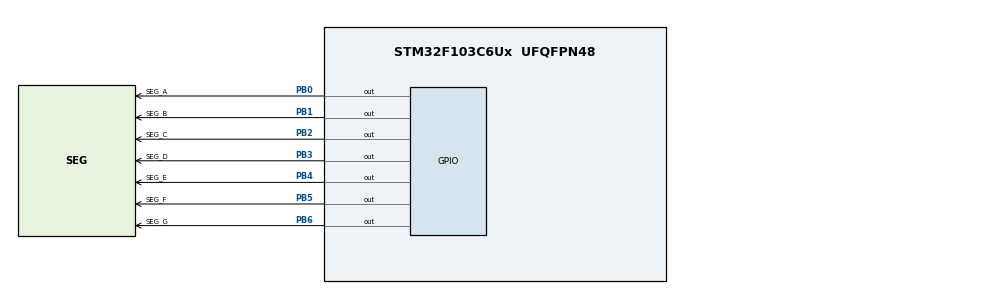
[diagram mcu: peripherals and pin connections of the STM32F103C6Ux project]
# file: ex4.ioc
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Mcu.Family=STM32F1
Mcu.Name=STM32F103C6Ux
Mcu.Package=UFQFPN48
NVIC.PriorityGroup=NVIC_PRIORITYGROUP_4
PB0.GPIO_Label=SEG_A
PB0.Signal=GPIO_Output
PB1.GPIO_Label=SEG_B
PB1.Signal=GPIO_Output
PB2.GPIO_Label=SEG_C
PB2.Signal=GPIO_Output
PB3.GPIO_Label=SEG_D
PB3.Signal=GPIO_Output
PB4.GPIO_Label=SEG_E
PB4.Signal=GPIO_Output
PB5.GPIO_Label=SEG_F
PB5.Signal=GPIO_Output
PB6.GPIO_Label=SEG_G
PB6.Signal=GPIO_Output
ProjectManager.HeapSize=0x200
ProjectManager.StackSize=0x400
ProjectManager.TargetToolchain=STM32CubeIDE
RCC.APB1Freq_Value=8000000
RCC.APB2Freq_Value=8000000
VP_SYS_VS_ND.Mode=No_Debug
board=custom

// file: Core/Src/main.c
/* USER CODE BEGIN Header */
/**
 ******************************************************************************
 * @file           : main.c
 * @brief          : Main program body
 ******************************************************************************
 * @attention
 *
 * <h2><center>&copy; Copyright (c) 2022 STMicroelectronics.
 * All rights reserved.</center></h2>
 *
 * This software component is licensed by ST under BSD 3-Clause license,
 * the "License"; You may not use this file except in compliance with the
 * License. You may obtain a copy of the License at:
 *                        opensource.org/licenses/BSD-3-Clause
 *
 ******************************************************************************
 */
/* USER CODE END Header */
#include "main.h"

void SystemClock_Config(void);
static void MX_GPIO_Init(void);

/* USER CODE BEGIN 0 */
void display7SEG(int num) {
	//num is the time displayed on the 7-segment led
	if (num == 0)
			{
		HAL_GPIO_WritePin(SEG_A_GPIO_Port, SEG_A_Pin, RESET);
		HAL_GPIO_WritePin(SEG_B_GPIO_Port, SEG_B_Pin, RESET);
		HAL_GPIO_WritePin(SEG_C_GPIO_Port, SEG_C_Pin, RESET);
		HAL_GPIO_WritePin(SEG_D_GPIO_Port, SEG_D_Pin, RESET);
		HAL_GPIO_WritePin(SEG_E_GPIO_Port, SEG_E_Pin, RESET);
		HAL_GPIO_WritePin(SEG_F_GPIO_Port, SEG_F_Pin, RESET);
		HAL_GPIO_WritePin(SEG_G_GPIO_Port, SEG_G_Pin, SET);
	}
	if (num == 1) {
		HAL_GPIO_WritePin(SEG_A_GPIO_Port, SEG_A_Pin, SET);
		HAL_GPIO_WritePin(SEG_B_GPIO_Port, SEG_B_Pin, RESET);
		HAL_GPIO_WritePin(SEG_C_GPIO_Port, SEG_C_Pin, RESET);
		HAL_GPIO_WritePin(SEG_D_GPIO_Port, SEG_D_Pin, SET);
		HAL_GPIO_WritePin(SEG_E_GPIO_Port, SEG_E_Pin, SET);
		HAL_GPIO_WritePin(SEG_F_GPIO_Port, SEG_F_Pin, SET);
		HAL_GPIO_WritePin(SEG_G_GPIO_Port, SEG_G_Pin, SET);
	}
	if (num == 2) {
		HAL_GPIO_WritePin(SEG_A_GPIO_Port, SEG_A_Pin, RESET);
		HAL_GPIO_WritePin(SEG_B_GPIO_Port, SEG_B_Pin, RESET);
		HAL_GPIO_WritePin(SEG_C_GPIO_Port, SEG_C_Pin, SET);
		HAL_GPIO_WritePin(SEG_D_GPIO_Port, SEG_D_Pin, RESET);
		HAL_GPIO_WritePin(SEG_E_GPIO_Port, SEG_E_Pin, RESET);
		HAL_GPIO_WritePin(SEG_F_GPIO_Port, SEG_F_Pin, SET);
		HAL_GPIO_WritePin(SEG_G_GPIO_Port, SEG_G_Pin, RESET);
	}
	if (num == 3) {
		HAL_GPIO_WritePin(SEG_A_GPIO_Port, SEG_A_Pin, RESET);
		HAL_GPIO_WritePin(SEG_B_GPIO_Port, SEG_B_Pin, RESET);
		HAL_GPIO_WritePin(SEG_C_GPIO_Port, SEG_C_Pin, RESET);
		HAL_GPIO_WritePin(SEG_D_GPIO_Port, SEG_D_Pin, RESET);
		HAL_GPIO_WritePin(SEG_E_GPIO_Port, SEG_E_Pin, SET);
		HAL_GPIO_WritePin(SEG_F_GPIO_Port, SEG_F_Pin, SET);
		HAL_GPIO_WritePin(SEG_G_GPIO_Port, SEG_G_Pin, RESET);
	}
	if (num == 4) {
		HAL_GPIO_WritePin(SEG_A_GPIO_Port, SEG_A_Pin, SET);
		HAL_GPIO_WritePin(SEG_B_GPIO_Port, SEG_B_Pin, RESET);
		HAL_GPIO_WritePin(SEG_C_GPIO_Port, SEG_C_Pin, RESET);
		HAL_GPIO_WritePin(SEG_D_GPIO_Port, SEG_D_Pin, SET);
		HAL_GPIO_WritePin(SEG_E_GPIO_Port, SEG_E_Pin, SET);
		HAL_GPIO_WritePin(SEG_F_GPIO_Port, SEG_F_Pin, RESET);
		HAL_GPIO_WritePin(SEG_G_GPIO_Port, SEG_G_Pin, RESET);
	}
	if (num == 5) {
		HAL_GPIO_WritePin(SEG_A_GPIO_Port, SEG_A_Pin, RESET);
		HAL_GPIO_WritePin(SEG_B_GPIO_Port, SEG_B_Pin, SET);
		HAL_GPIO_WritePin(SEG_C_GPIO_Port, SEG_C_Pin, RESET);
		HAL_GPIO_WritePin(SEG_D_GPIO_Port, SEG_D_Pin, RESET);
		HAL_GPIO_WritePin(SEG_E_GPIO_Port, SEG_E_Pin, SET);
		HAL_GPIO_WritePin(SEG_F_GPIO_Port, SEG_F_Pin, RESET);
		HAL_GPIO_WritePin(SEG_G_GPIO_Port, SEG_G_Pin, RESET);
	}
	if (num == 6) {
		HAL_GPIO_WritePin(SEG_A_GPIO_Port, SEG_A_Pin, RESET);
		HAL_GPIO_WritePin(SEG_B_GPIO_Port, SEG_B_Pin, SET);
		HAL_GPIO_WritePin(SEG_C_GPIO_Port, SEG_C_Pin, RESET);
		HAL_GPIO_WritePin(SEG_D_GPIO_Port, SEG_D_Pin, RESET);
		HAL_GPIO_WritePin(SEG_E_GPIO_Port, SEG_E_Pin, RESET);
		HAL_GPIO_WritePin(SEG_F_GPIO_Port, SEG_F_Pin, RESET);
		HAL_GPIO_WritePin(SEG_G_GPIO_Port, SEG_G_Pin, RESET);
	}
	if (num == 7) {
		HAL_GPIO_WritePin(SEG_A_GPIO_Port, SEG_A_Pin, RESET);
		HAL_GPIO_WritePin(SEG_B_GPIO_Port, SEG_B_Pin, RESET);
		HAL_GPIO_WritePin(SEG_C_GPIO_Port, SEG_C_Pin, RESET);
		HAL_GPIO_WritePin(SEG_D_GPIO_Port, SEG_D_Pin, SET);
		HAL_GPIO_WritePin(SEG_E_GPIO_Port, SEG_E_Pin, SET);
		HAL_GPIO_WritePin(SEG_F_GPIO_Port, SEG_F_Pin, SET);
		HAL_GPIO_WritePin(SEG_G_GPIO_Port, SEG_G_Pin, SET);
	}
	if (num == 8) {
		HAL_GPIO_WritePin(SEG_A_GPIO_Port, SEG_A_Pin, RESET);
		HAL_GPIO_WritePin(SEG_B_GPIO_Port, SEG_B_Pin, RESET);
		HAL_GPIO_WritePin(SEG_C_GPIO_Port, SEG_C_Pin, RESET);
		HAL_GPIO_WritePin(SEG_D_GPIO_Port, SEG_D_Pin, RESET);
		HAL_GPIO_WritePin(SEG_E_GPIO_Port, SEG_E_Pin, RESET);
		HAL_GPIO_WritePin(SEG_F_GPIO_Port, SEG_F_Pin, RESET);
		HAL_GPIO_WritePin(SEG_G_GPIO_Port, SEG_G_Pin, RESET);
	}
	if (num == 9) {
		HAL_GPIO_WritePin(SEG_A_GPIO_Port, SEG_A_Pin, RESET);
		HAL_GPIO_WritePin(SEG_B_GPIO_Port, SEG_B_Pin, RESET);
		HAL_GPIO_WritePin(SEG_C_GPIO_Port, SEG_C_Pin, RESET);
		HAL_GPIO_WritePin(SEG_D_GPIO_Port, SEG_D_Pin, RESET);
		HAL_GPIO_WritePin(SEG_E_GPIO_Port, SEG_E_Pin, SET);
		HAL_GPIO_WritePin(SEG_F_GPIO_Port, SEG_F_Pin, RESET);
		HAL_GPIO_WritePin(SEG_G_GPIO_Port, SEG_G_Pin, RESET);
	}
}
/* USER CODE END 0 */

int main(void) {

	/* MCU Configuration--------------------------------------------------------*/

	/* Reset of all peripherals, Initializes the Flash interface and the Systick. */
	HAL_Init();

	/* Configure the system clock */
	SystemClock_Config();

	/* Initialize all configured peripherals */
	MX_GPIO_Init();

	/* Infinite loop */
	/* USER CODE BEGIN WHILE */
	int counter = 0;
	while (1) {
		if (counter >= 10)
			counter = 0;
		display7SEG(counter++);
		HAL_Delay(1000);
		/* USER CODE END WHILE */

	}
}

void SystemClock_Config(void) {
	RCC_OscInitTypeDef RCC_OscInitStruct = { 0 };
	RCC_ClkInitTypeDef RCC_ClkInitStruct = { 0 };

	/** Initializes the RCC Oscillators according to the specified parameters
	 * in the RCC_OscInitTypeDef structure.
	 */
	RCC_OscInitStruct.OscillatorType = RCC_OSCILLATORTYPE_HSI;
	RCC_OscInitStruct.HSIState = RCC_HSI_ON;
	RCC_OscInitStruct.HSICalibrationValue = RCC_HSICALIBRATION_DEFAULT;
	RCC_OscInitStruct.PLL.PLLState = RCC_PLL_NONE;
	if (HAL_RCC_OscConfig(&RCC_OscInitStruct) != HAL_OK) {
		Error_Handler();
	}
	/** Initializes the CPU, AHB and APB buses clocks
	 */
	RCC_ClkInitStruct.ClockType = RCC_CLOCKTYPE_HCLK | RCC_CLOCKTYPE_SYSCLK
			| RCC_CLOCKTYPE_PCLK1 | RCC_CLOCKTYPE_PCLK2;
	RCC_ClkInitStruct.SYSCLKSource = RCC_SYSCLKSOURCE_HSI;
	RCC_ClkInitStruct.AHBCLKDivider = RCC_SYSCLK_DIV1;
	RCC_ClkInitStruct.APB1CLKDivider = RCC_HCLK_DIV1;
	RCC_ClkInitStruct.APB2CLKDivider = RCC_HCLK_DIV1;

	if (HAL_RCC_ClockConfig(&RCC_ClkInitStruct, FLASH_LATENCY_0) != HAL_OK) {
		Error_Handler();
	}
}

static void MX_GPIO_Init(void) {
	GPIO_InitTypeDef GPIO_InitStruct = { 0 };

	/* GPIO Ports Clock Enable */
	__HAL_RCC_GPIOB_CLK_ENABLE();

	/*Configure GPIO pin Output Level */
	HAL_GPIO_WritePin(GPIOB,
			SEG_A_Pin | SEG_B_Pin | SEG_C_Pin | SEG_D_Pin | SEG_E_Pin
					| SEG_F_Pin | SEG_G_Pin, GPIO_PIN_RESET);

	/*Configure GPIO pins : SEG_A_Pin SEG_B_Pin SEG_C_Pin SEG_D_Pin
	 SEG_E_Pin SEG_F_Pin SEG_G_Pin */
	GPIO_InitStruct.Pin = SEG_A_Pin | SEG_B_Pin | SEG_C_Pin | SEG_D_Pin
			| SEG_E_Pin | SEG_F_Pin | SEG_G_Pin;
	GPIO_InitStruct.Mode = GPIO_MODE_OUTPUT_PP;
	GPIO_InitStruct.Pull = GPIO_NOPULL;
	GPIO_InitStruct.Speed = GPIO_SPEED_FREQ_LOW;
	HAL_GPIO_Init(GPIOB, &GPIO_InitStruct);

}

void Error_Handler(void) {
	__disable_irq();
	while (1) {
	}
}

/************************ (C) COPYRIGHT STMicroelectronics *****END OF FILE****/
